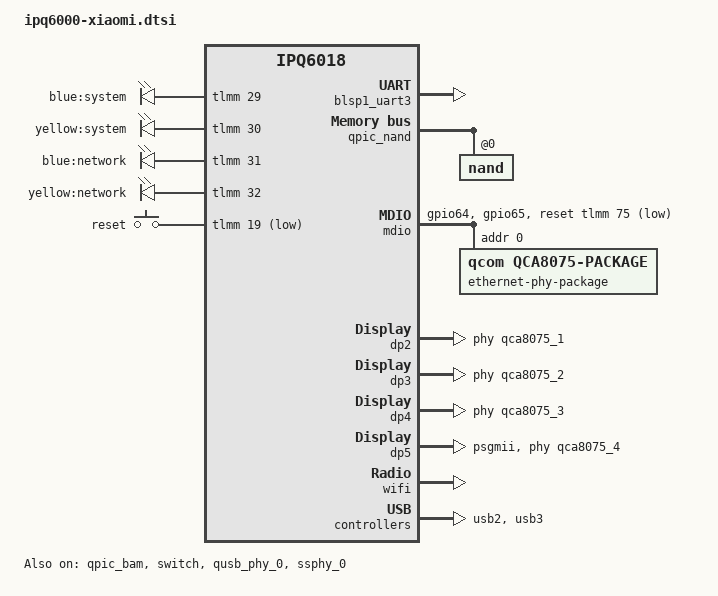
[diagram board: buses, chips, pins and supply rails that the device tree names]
// SPDX-License-Identifier: GPL-2.0-or-later OR MIT

/dts-v1/;

#include "ipq6018.dtsi"
#include "ipq6018-cp-cpu.dtsi"
#include "ipq6018-cpufreq.dtsi"
#include "ipq6018-ess.dtsi"
#include "ipq6018-nss.dtsi"

#include <dt-bindings/gpio/gpio.h>
#include <dt-bindings/input/input.h>

/ {
	qcom,msm-id = <0x192 0x0>;

	aliases {
		serial0 = &blsp1_uart3;
		led-boot = &led_yellow;
		led-failsafe = &led_blue;
		led-running = &led_blue;
		led-upgrade = &led_yellow;

		/* Aliases as required by u-boot to patch MAC addresses */
		//ethernet0 = &dp1;
		ethernet1 = &dp2;
		ethernet2 = &dp3;
		ethernet3 = &dp4;
		ethernet4 = &dp5;

		label-mac-device = &dp5;
	};

	chosen {
		bootargs-append = " root=/dev/ubiblock0_1";
	};

	leds {
		compatible = "gpio-leds";
		pinctrl-0 = <&leds_pins>;
		pinctrl-names = "default";

		led_blue: system-blue {
			label = "blue:system";
			gpios = <&tlmm 29 GPIO_ACTIVE_HIGH>;
		};

		led_yellow: system-yellow {
			label = "yellow:system";
			gpios = <&tlmm 30 GPIO_ACTIVE_HIGH>;
		};

		network-blue {
			label = "blue:network";
			gpios = <&tlmm 31 GPIO_ACTIVE_HIGH>;
		};

		network-yellow {
			label = "yellow:network";
			gpios = <&tlmm 32 GPIO_ACTIVE_HIGH>;
		};
	};

	keys {
		compatible = "gpio-keys";
		pinctrl-0 = <&button_pins>;
		pinctrl-names = "default";

		reset {
			label = "reset";
			linux,code = <KEY_RESTART>;
			gpios = <&tlmm 19 GPIO_ACTIVE_LOW>;
			linux,input-type = <1>;
			debounce-interval = <60>;
		};
	};
};

&tlmm {
	leds_pins: leds_pins {
		mux {
			pins = "gpio29", "gpio30", "gpio31", "gpio32";
			function = "gpio";
			drive-strength = <8>;
			bias-pull-down;
		};
	};

	button_pins: button_pins {
		reset_button {
			pins = "gpio19";
			function = "gpio";
			drive-strength = <8>;
			bias-pull-up;
		};
	};

	mdio_pins: mdio-pins {
		mdc {
			pins = "gpio64";
			function = "mdc";
			drive-strength = <8>;
			bias-pull-up;
		};

		mdio {
			pins = "gpio65";
			function = "mdio";
			drive-strength = <8>;
			bias-pull-up;
		};
	};
};

&blsp1_uart3 {
	pinctrl-0 = <&serial_3_pins>;
	pinctrl-names = "default";
	status = "okay";
};

&qpic_bam {
	status = "okay";
};

&qpic_nand {
	status = "okay";

	nand@0 {
		reg = <0>;

		nand-ecc-strength = <4>;
		nand-ecc-step-size = <512>;
		nand-bus-width = <8>;

		partitions {
			compatible = "qcom,smem-part";
		};
	};
};

&mdio {
	status = "okay";

	pinctrl-0 = <&mdio_pins>;
	pinctrl-names = "default";
	reset-gpios = <&tlmm 75 GPIO_ACTIVE_LOW>;

	ethernet-phy-package@0 {
		#address-cells = <1>;
		#size-cells = <0>;
		compatible = "qcom,qca8075-package";
		reg = <0>;

		qcom,package-mode = "psgmii";

		qca8075_1: ethernet-phy@1 {
			compatible = "ethernet-phy-ieee802.3-c22";
			reg = <1>;
		};

		qca8075_2: ethernet-phy@2 {
			compatible = "ethernet-phy-ieee802.3-c22";
			reg = <2>;
		};

		qca8075_3: ethernet-phy@3 {
			compatible = "ethernet-phy-ieee802.3-c22";
			reg = <3>;
		};

		qca8075_4: ethernet-phy@4 {
			compatible = "ethernet-phy-ieee802.3-c22";
			reg = <4>;
		};
	};
};

&switch {
	status = "okay";

	switch_lan_bmp = <(ESS_PORT2 | ESS_PORT3 | ESS_PORT4)>; /* lan port bitmap */
	switch_wan_bmp = <ESS_PORT5>; /* wan port bitmap */
	switch_mac_mode = <MAC_MODE_PSGMII>; /* mac mode for uniphy 0 */

	qcom,port_phyinfo {
		port@2 {
			port_id = <2>;
			phy_address = <1>;
		};
		port@3 {
			port_id = <3>;
			phy_address = <2>;
		};
		port@4 {
			port_id = <4>;
			phy_address = <3>;
		};
		port@5 {
			port_id = <5>;
			phy_address = <4>;
		};
	};
};

&edma {
	status = "okay";
};

&dp2 {
	status = "okay";
	phy-handle = <&qca8075_1>;
	label = "lan1";
};

&dp3 {
	status = "okay";
	phy-handle = <&qca8075_2>;
	label = "lan2";
};

&dp4 {
	status = "okay";
	phy-handle = <&qca8075_3>;
	label = "lan3";
};

&dp5 {
	status = "okay";
	phy-handle = <&qca8075_4>;
	phy-mode = "psgmii";
	label = "wan";
};

&wifi {
	status = "okay";

	qcom,ath11k-fw-memory-mode = <1>;
};

&qusb_phy_0 {
	status = "ok";
};

&ssphy_0 {
	status = "ok";
};

&usb2 {
	status = "okay";
};

&usb3 {
	status = "ok";
};
